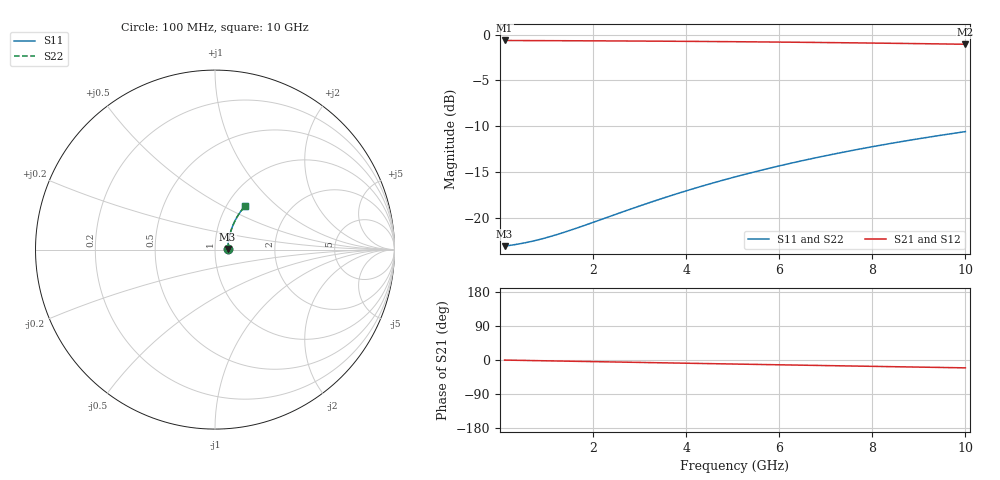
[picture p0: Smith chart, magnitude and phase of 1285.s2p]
# Hz S RI R 50.00
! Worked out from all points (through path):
!   100 points, 100 MHz to 10 GHz, reference 50 ohm
!   highest |S21| = -0.63 dB at 100 MHz (marker M1); lowest = -1.0 dB at 10 GHz (marker M2)
!   group delay of S21, straight-line fit = 5.76 ps
!   lowest |S11| = -23.1 dB at 100 MHz (marker M3), VSWR 1.15, Z = 57.5 + j0.32 ohm
!   |S11| at or under -10 dB: start of sweep to end of sweep
!   |S22| runs from -23.1 to -10.6 dB; largest |S21 - S12| = 0
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1e8  0.0699 0.00277  0.9301 -0.00347  0.9301 -0.00347  0.0699 0.00277
3e8  0.0707 0.00829  0.9293 -0.0104  0.9293 -0.0104  0.0707 0.00829
5e8  0.0713 0.0138  0.9286 -0.0173  0.9286 -0.0173  0.0713 0.0138
7e8  0.0719 0.0193  0.928 -0.0242  0.928 -0.0242  0.0719 0.0193
9e8  0.0726 0.0248  0.9274 -0.0311  0.9274 -0.0311  0.0726 0.0248
1.1e9  0.0732 0.0303  0.9268 -0.038  0.9268 -0.038  0.0732 0.0303
1.3e9  0.0739 0.0357  0.926 -0.0448  0.926 -0.0448  0.0739 0.0357
1.8e9  0.0759 0.0493  0.924 -0.062  0.924 -0.062  0.0759 0.0493
2.8e9  0.0812 0.0762  0.9186 -0.0958  0.9186 -0.0958  0.0812 0.0762
3.4e9  0.0853 0.092  0.9144 -0.1159  0.9144 -0.1159  0.0853 0.092
3.8e9  0.0883 0.1024  0.9113 -0.1291  0.9113 -0.1291  0.0883 0.1024
4.2e9  0.0916 0.1127  0.9079 -0.1423  0.9079 -0.1423  0.0916 0.1127
4.6e9  0.0952 0.1229  0.9042 -0.1553  0.9042 -0.1553  0.0952 0.1229
5.1e9  0.1001 0.1354  0.8992 -0.1713  0.8992 -0.1713  0.1001 0.1354
5.5e9  0.1043 0.1453  0.8948 -0.184  0.8948 -0.184  0.1043 0.1453
5.9e9  0.1088 0.155  0.8902 -0.1965  0.8902 -0.1965  0.1088 0.155
6.3e9  0.1136 0.1645  0.8854 -0.2088  0.8854 -0.2088  0.1136 0.1645
6.7e9  0.1186 0.1738  0.8803 -0.221  0.8803 -0.221  0.1186 0.1738
7.5e9  0.1292 0.1919  0.8693 -0.2447  0.8693 -0.2447  0.1292 0.1919
8.4e9  0.1423 0.2113  0.8558 -0.2705  0.8558 -0.2705  0.1423 0.2113
9.2e9  0.1548 0.2276  0.843 -0.2925  0.843 -0.2925  0.1548 0.2276
1e10  0.168 0.2431  0.8293 -0.3136  0.8293 -0.3136  0.168 0.2431
